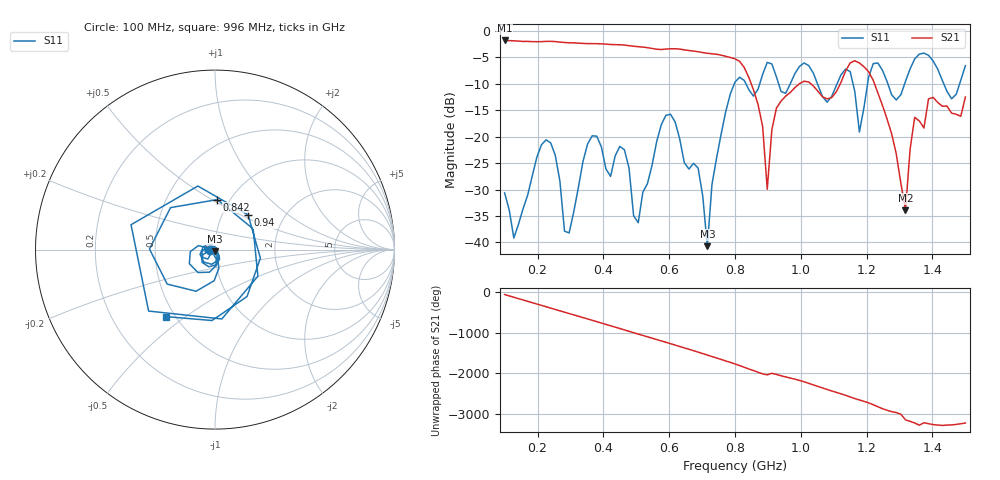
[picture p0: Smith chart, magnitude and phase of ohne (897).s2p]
! NanoVNA-App
! Date: 2025-09-25 14:27:47
! Start: 100MHz Stop: 1,5GHz Points: 101
! S-Parameter data: F S11 S21 S12 S22
# Hz S RI R 50
!  Frequency  S11_Real  S11_Imag  S21_Real  S21_Imag  S12_Real  S12_Imag  S22_Real  S22_Imag
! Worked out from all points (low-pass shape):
!   101 points, 100 MHz to 1.5 GHz, reference 50 ohm
!   highest |S21| = -1.79 dB at 100 MHz (marker M1); lowest = -33.9 dB at 1.318 GHz (marker M2)
!   |S21| within 3 dB of the highest: start of sweep to 771.7 MHz
!   lowest |S11| = -40.7 dB at 716 MHz (marker M3), VSWR 1.02, Z = 49.7 - j0.878 ohm
!   |S11| at or under -10 dB: start of sweep to 797.9 MHz; 833.2 MHz to 875.1 MHz (41.87 MHz wide, 4.9 % of centre); 1.051 GHz to 1.11 GHz (59.54 MHz wide, 5.51 % of centre) (the widest 3 of 7)
!   S12 and S22 are empty: the file has one direction only
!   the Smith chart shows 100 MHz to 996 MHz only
!   S11 on the Smith chart (normalised r, x): 100 MHz: 0.94, -0.01; 842 MHz: 0.88, +0.53; 940 MHz: 1.32, +0.55; 996 MHz: 0.45, -0.42
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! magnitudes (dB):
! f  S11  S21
! 100 MHz  -30.6  -1.8
! 128 MHz  -39.2  -1.9
! 226 MHz  -20.6  -2.0
! 296 MHz  -38.2  -2.2
! 338 MHz  -24.7  -2.3
! 464 MHz  -22.5  -2.7
! 506 MHz  -36.3  -3.0
! 576 MHz  -17.7  -3.5
! 688 MHz  -26.0  -3.9
! 716 MHz  -40.7  -4.2
! 800 MHz  -9.7  -5.3
! 842 MHz  -11.1  -8.8
! 898 MHz  -6.0  -29.9
! 940 MHz  -11.5  -13.3
! 996 MHz  -6.7  -10.0
! 1.038 GHz  -8.0  -10.4
! 1.178 GHz  -19.1  -6.1
! 1.22 GHz  -6.2  -9.3
! 1.276 GHz  -12.1  -19.5
! 1.318 GHz  -9.5  -33.9
! 1.346 GHz  -5.3  -16.4
! 1.5 GHz  -6.6  -12.5
